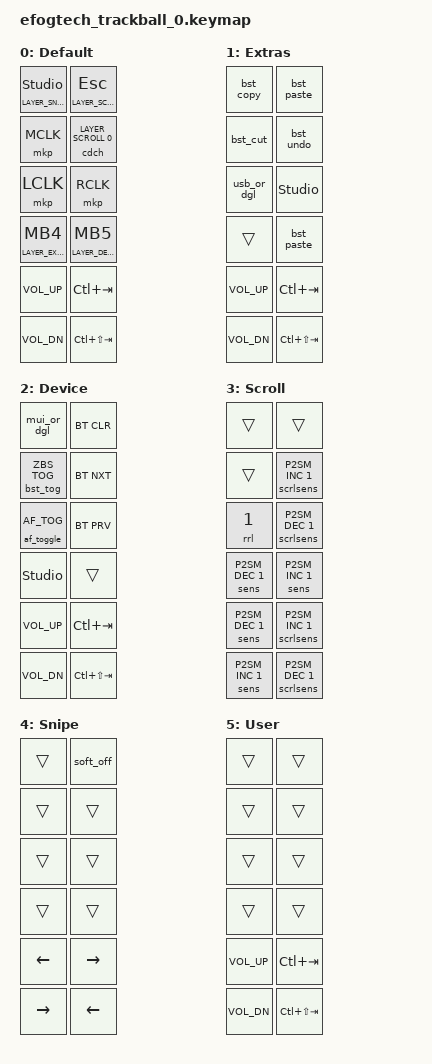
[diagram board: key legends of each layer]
#include <behaviors.dtsi>
#include <dt-bindings/zmk/bt.h>
#include <dt-bindings/zmk/keys.h>
#include <dt-bindings/zmk/pointing.h>
#include <dt-bindings/zmk/outputs.h>
#include <dt-bindings/zmk/adaptive_feedback.h>
#include <dt-bindings/zmk/bistable_behavior.h>
#include <dt-bindings/zmk/p2sm.h>
#include <input/processors/twist_router.dtsi>

#ifndef LAYER_DEFAULT
#define LAYER_DEFAULT      0
#define LAYER_EXTRAS       1
#define LAYER_DEVICE       2
#define LAYER_SCROLL       3
#define LAYER_SNIPE        4
#define LAYER_USER         5
#endif

/ {
	behaviors {
		// AJ: one tap = leave dongle (BLE profile 0, USB when plugged in), double tap = dongle
		usb_or_dgl: usb-or-dongle {
			compatible = "zmk,behavior-tap-dance";
			display-name = "Leave dongle (click) or switch to dongle (double-click)";
			#binding-cells = <0>;
			bindings = <&bt BT_SEL 0>, <&goto_esb>;
			tapping-term-ms = <400>;
		};

		// AJ: top-left button, tap = Studio Unlock (was Enter), hold = Snipe layer.
		// Switches keep dying; this keeps an unlock key on the base layer.
		ltsu: layer-tap-studio-unlock {
			compatible = "zmk,behavior-hold-tap";
			display-name = "Hold: layer, tap: Studio Unlock";
			#binding-cells = <2>;
			flavor = "tap-preferred";
			tapping-term-ms = <200>;
			bindings = <&mo>, <&studio_unlock>;
			hold-while-undecided;
		};
	};

	keymap {
		compatible = "zmk,keymap";

		default_layer {
			display-name = "Default";
			DECLARE_ENCODERS;
			bindings = <
			    // buttons
			    &ltsu LAYER_SNIPE 0       &ltmkp LAYER_SCROLL ESC
			    &mkp MCLK                 &cdch LAYER_SCROLL 0
			    &mkp LCLK                 &mkp RCLK
			    &ltm LAYER_EXTRAS MB4     &ltm LAYER_DEVICE MB5

			    // rotary encoders
			    &kp C_VOL_UP              &kp LC(TAB)
			    &kp C_VOL_DN              &kp LC(LS(TAB))
		    >;
		};

		layer1 {
			display-name = "Extras";
			DECLARE_ENCODERS;
			bindings = <
			    &bst_copy      &bst_paste
			    &bst_cut       &bst_undo
			    &usb_or_dgl    &studio_unlock  // AJ: MB5 dead, so Device-layer keys live here (hold MB4)
			    &trans         &bst_paste

			    &kp C_VOL_UP   &kp LC(TAB)
			    &kp C_VOL_DN   &kp LC(LS(TAB))
	   		>;
		};

		layer2 {
			display-name = "Device";
			DECLARE_ENCODERS;
			bindings = <
			    &mui_or_dgl          &bt BT_CLR
			    &bst_tog ZBS_TOG     &bt BT_NXT
			    &af_toggle AF_TOG    &bt BT_PRV
			    &studio_unlock       &trans

			    &kp C_VOL_UP         &kp LC(TAB)
			    &kp C_VOL_DN         &kp LC(LS(TAB))
		   	>;
		};

		layer3 {
			display-name = "Scroll";
			DECLARE_ENCODERS;
			bindings = <
			    &trans              &trans
			    &trans              &scrlsens P2SM_INC 1
			    &rrl 1              &scrlsens P2SM_DEC 1
			    &sens P2SM_DEC 1    &sens P2SM_INC 1

			    &sens P2SM_DEC 1    &scrlsens P2SM_INC 1
			    &sens P2SM_INC 1    &scrlsens P2SM_DEC 1
		  	>;
		};

		layer4 {
			display-name = "Snipe";
			DECLARE_ENCODERS;
			bindings = <
			    &trans           &soft_off
			    &trans           &trans
			    &trans           &trans
			    &trans           &trans

			    &kp LEFT         &kp RIGHT
			    &kp RIGHT        &kp LEFT
	   		>;
		};

		layer5 {
			display-name = "User";
			DECLARE_ENCODERS;
			bindings = <
				&trans        &trans
				&trans        &trans
				&trans        &trans
				&trans        &trans

				&kp C_VOL_UP  &kp LC(TAB)
				&kp C_VOL_DN  &kp LC(LS(TAB))
		    >;
		};
	};

	trackball {
		// AJ: twist/cursor routers = runtime rules (shell: twist rule / cursor rule); no rules = pass-through
		input-processors = <&zip_bistable_twist_scaler>, <&zip_twist_router>, <&zip_cursor_router>,
						   <&zip_pointer_accel>, <&zip_scroll_accel>, <&zip_rotate_pointer>,
		                   <&esb_ip>, <&zip_ble_report_rate_limit>;

		scroll {
			layers = <LAYER_SCROLL>;
			input-processors = <&zip_twist_router>, <&zip_bistable_scroll_xy_scaler>, <&zip_axis_clamper>,
							   <&zip_xy_to_scroll_mapper>, <&zip_scroll_transform INPUT_TRANSFORM_Y_INVERT>,
							   <&zip_dragscroll_accel>, <&zip_rotate_scroll>,
							   <&esb_ip>, <&zip_ble_report_rate_limit>;
		};

		snipe {
			layers = <LAYER_SNIPE>;
			// AJ: twist on Snipe = normal twist scaling x the snipe ratio (snipe scaler also covers wheel codes)
			input-processors = <&zip_bistable_twist_scaler>, <&zip_twist_router>, <&zip_cursor_router>,
							   <&zip_bistable_snipe_scaler>, <&zip_rotate_pointer>,
							   <&esb_ip>, <&zip_ble_report_rate_limit>;
		};
	};
};
